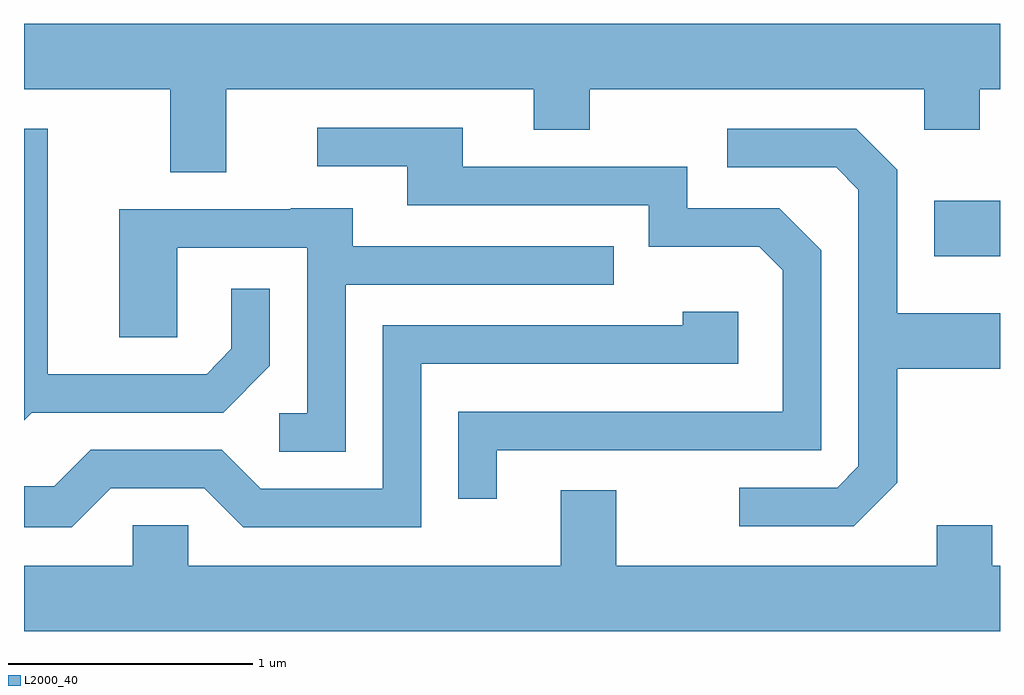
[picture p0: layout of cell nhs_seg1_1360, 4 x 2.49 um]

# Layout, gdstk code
import gdstk
lib = gdstk.Library(unit=1e-6, precision=1e-09)
def R(c, l, rs):  # rectangles x0, y0, x1, y1
    for r in rs: c.add(gdstk.rectangle(r[:2], r[2:], *l))
def P(c, l, *ps):  # polygons
    for p in ps: c.add(gdstk.Polygon(p, *l))
L2000_40 = (2000, 40)

nhs_seg1_1360 = lib.new_cell('nhs_seg1_1360')
R(nhs_seg1_1360, L2000_40, [(231.341,867.811,231.611,868.039)])
P(nhs_seg1_1360, L2000_40, [(227.611,868.496),(228.211,868.496),(228.211,868.156),(228.439,868.156),(228.439,868.496),(229.701,868.496),(229.701,868.331),(229.929,868.331),(229.929,868.496),(231.301,868.496),(231.301,868.331),(231.529,868.331),(231.529,868.496),(231.611,868.496),(231.611,868.764),(227.611,868.764)],
  [(229.549,867.016),(230.879,867.016),(230.879,867.837),(230.707,868.009),(230.329,868.009),(230.329,868.179),(229.409,868.179),(229.409,868.339),(228.813,868.339),(228.813,868.181),(229.181,868.181),(229.181,868.021),(230.171,868.021),(230.171,867.851),(230.624,867.851),(230.721,867.754),(230.721,867.174),(229.391,867.174),(229.391,866.818),(229.549,866.818)],
  [(231.189,866.884),(231.189,867.351),(231.611,867.351),(231.611,867.579),(231.189,867.579),(231.189,868.167),(231.022,868.334),(230.493,868.334),(230.493,868.176),(230.939,868.176),(231.031,868.084),(231.031,866.952),(230.944,866.864),(230.543,866.864),(230.543,866.706),(231.012,866.706)],
  [(227.642,867.171),(228.427,867.171),(228.619,867.364),(228.619,867.678),(228.461,867.678),(228.461,867.432),(228.359,867.329),(227.709,867.329),(227.709,868.334),(227.611,868.334),(227.611,867.14)],
  [(228.929,867.696),(230.028,867.696),(230.028,867.854),(228.959,867.854),(228.959,868.009),(228.705,868.009),(228.705,868.004),(228.001,868.004),(228.001,867.481),(228.239,867.481),(228.239,867.846),(228.771,867.846),(228.771,867.169),(228.658,867.169),(228.658,867.011),(228.929,867.011)],
  [(227.967,866.861),(228.349,866.861),(228.509,866.701),(229.239,866.701),(229.239,867.371),(230.539,867.371),(230.539,867.584),(230.311,867.584),(230.311,867.529),(229.081,867.529),(229.081,866.859),(228.582,866.859),(228.422,867.019),(227.884,867.019),(227.734,866.869),(227.611,866.869),(227.611,866.701),(227.807,866.701)],
  [(231.611,866.544),(231.579,866.544),(231.579,866.709),(231.351,866.709),(231.351,866.544),(230.039,866.544),(230.039,866.854),(229.811,866.854),(229.811,866.544),(228.284,866.544),(228.284,866.709),(228.056,866.709),(228.056,866.544),(227.611,866.544),(227.611,866.276),(231.611,866.276)])

lib.write_gds('nhs_seg1_1360.gds')
